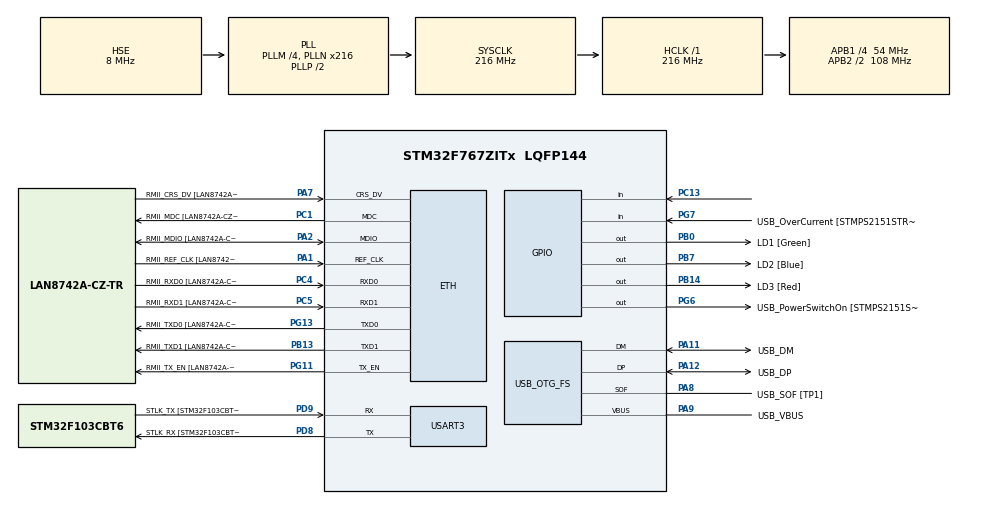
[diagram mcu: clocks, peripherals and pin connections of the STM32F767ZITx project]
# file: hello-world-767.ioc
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CORTEX_M7.default_mode_Activation=1
ETH.MediaInterface=HAL_ETH_RMII_MODE
ETH.PHY_Name=LAN8742A_PHY_ADDRESS
ETH.PHY_Value=0
ETH.PhyAddress=0
Mcu.Family=STM32F7
Mcu.Name=STM32F767ZITx
Mcu.Package=LQFP144
NVIC.PriorityGroup=NVIC_PRIORITYGROUP_4
PA1.GPIO_Label=RMII_REF_CLK [LAN8742A-CZ-TR_REFCLK0]
PA1.Mode=RMII
PA1.Signal=ETH_REF_CLK
PA10.GPIO_Label=USB_ID
PA10.Signal=USB_OTG_FS_ID
PA11.GPIO_Label=USB_DM
PA11.Mode=Device_Only
PA11.Signal=USB_OTG_FS_DM
PA12.GPIO_Label=USB_DP
PA12.Mode=Device_Only
PA12.Signal=USB_OTG_FS_DP
PA13.GPIO_Label=TMS
PA13.Mode=Serial_Wire
PA13.Signal=SYS_JTMS-SWDIO
PA14.GPIO_Label=TCK
PA14.Mode=Serial_Wire
PA14.Signal=SYS_JTCK-SWCLK
PA2.GPIO_Label=RMII_MDIO [LAN8742A-CZ-TR_MDIO]
PA2.Mode=RMII
PA2.Signal=ETH_MDIO
PA7.GPIO_Label=RMII_CRS_DV [LAN8742A-CZ-TR_CRS_DV]
PA7.Mode=RMII
PA7.Signal=ETH_CRS_DV
PA8.GPIO_Label=USB_SOF [TP1]
PA8.Mode=Activate_SOF_FS
PA8.Signal=USB_OTG_FS_SOF
PA9.GPIO_Label=USB_VBUS
PA9.Mode=Activate_VBUS
PA9.Signal=USB_OTG_FS_VBUS
PB0.GPIO_Label=LD1 [Green]
PB0.Signal=GPIO_Output
PB13.GPIO_Label=RMII_TXD1 [LAN8742A-CZ-TR_TXD1]
PB13.Mode=RMII
PB13.Signal=ETH_TXD1
PB14.GPIO_Label=LD3 [Red]
PB14.Signal=GPIO_Output
PB3.GPIO_Label=SWO
PB3.Signal=SYS_JTDO-SWO
PB7.GPIO_Label=LD2 [Blue]
PB7.Signal=GPIO_Output
PC1.GPIO_Label=RMII_MDC [LAN8742A-CZ-TR_MDC]
PC1.Mode=RMII
PC1.Signal=ETH_MDC
PC13.Signal=GPIO_Input
PC14/OSC32_IN.Mode=LSE-External-Oscillator
PC14/OSC32_IN.Signal=RCC_OSC32_IN
PC15/OSC32_OUT.Mode=LSE-External-Oscillator
PC15/OSC32_OUT.Signal=RCC_OSC32_OUT
PC4.GPIO_Label=RMII_RXD0 [LAN8742A-CZ-TR_RXD0]
PC4.Mode=RMII
PC4.Signal=ETH_RXD0
PC5.GPIO_Label=RMII_RXD1 [LAN8742A-CZ-TR_RXD1]
PC5.Mode=RMII
PC5.Signal=ETH_RXD1
PD8.GPIO_Label=STLK_RX [STM32F103CBT6_PA3]
PD8.Mode=Asynchronous
PD8.Signal=USART3_TX
PD9.GPIO_Label=STLK_TX [STM32F103CBT6_PA2]
PD9.Mode=Asynchronous
PD9.Signal=USART3_RX
PG11.GPIO_Label=RMII_TX_EN [LAN8742A-CZ-TR_TXEN]
PG11.Mode=RMII
PG11.Signal=ETH_TX_EN
PG13.GPIO_Label=RMII_TXD0 [LAN8742A-CZ-TR_TXD0]
PG13.Mode=RMII
PG13.Signal=ETH_TXD0
PG6.GPIO_Label=USB_PowerSwitchOn [STMPS2151STR_EN]
PG6.Signal=GPIO_Output
PG7.GPIO_Label=USB_OverCurrent [STMPS2151STR_FAULT]
PG7.Signal=GPIO_Input
PH0/OSC_IN.GPIO_Label=MCO [STM32F103CBT6_PA8]
PH0/OSC_IN.Mode=HSE-External-Clock-Source
PH0/OSC_IN.Signal=RCC_OSC_IN
PH1/OSC_OUT.Mode=HSE-External-Clock-Source
PH1/OSC_OUT.Signal=RCC_OSC_OUT
ProjectManager.HeapSize=0x200
ProjectManager.StackSize=0x400
ProjectManager.TargetToolchain=STM32CubeIDE
RCC.48MHZClocksFreq_Value=24000000
RCC.AHBFreq_Value=216000000
RCC.APB1CLKDivider=RCC_HCLK_DIV4
RCC.APB1Freq_Value=54000000
RCC.APB1TimFreq_Value=108000000
RCC.APB2CLKDivider=RCC_HCLK_DIV2
RCC.APB2Freq_Value=108000000
RCC.APB2TimFreq_Value=216000000
RCC.CortexFreq_Value=216000000
RCC.HCLKFreq_Value=216000000
RCC.HSE_VALUE=8000000
RCC.HSI_VALUE=16000000
RCC.PLLM=4
RCC.PLLMUL=RCC_PLL_MUL9
RCC.PLLN=216
RCC.PLLQ=9
RCC.PRESCALERUSB=RCC_USBCLKSOURCE_PLL_DIV1_5
RCC.SYSCLKFreq_VALUE=216000000
RCC.SYSCLKSource=RCC_SYSCLKSOURCE_PLLCLK
RCC.SYSCLKSourceVirtual=RCC_SYSCLKSOURCE_PLLCLK
RCC.USBFreq_Value=48000000
RCC.VCOOutputFreq_Value=432000000
USART3.VirtualMode-Asynchronous=VM_ASYNC
USB_OTG_FS.VirtualMode=Device_Only
board=NUCLEO-F767ZI

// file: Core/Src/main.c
/* USER CODE BEGIN Header */
/**
  ******************************************************************************
  * @file           : main.c
  * @brief          : Main program body
  ******************************************************************************
  * @attention
  *
  * Copyright (c) 2026 STMicroelectronics.
  * All rights reserved.
  *
  * This software is licensed under terms that can be found in the LICENSE file
  * in the root directory of this software component.
  * If no LICENSE file comes with this software, it is provided AS-IS.
  *
  ******************************************************************************
  */
/* USER CODE END Header */
#include "main.h"
#include "string.h"

/* USER CODE BEGIN Includes */
#include <stdio.h>
/* USER CODE END Includes */

#if defined ( __ICCARM__ ) /*!< IAR Compiler */
#pragma location=0x2007c000
ETH_DMADescTypeDef  DMARxDscrTab[ETH_RX_DESC_CNT]; /* Ethernet Rx DMA Descriptors */
#pragma location=0x2007c0a0
ETH_DMADescTypeDef  DMATxDscrTab[ETH_TX_DESC_CNT]; /* Ethernet Tx DMA Descriptors */

#elif defined ( __CC_ARM )  /* MDK ARM Compiler */

__attribute__((at(0x2007c000))) ETH_DMADescTypeDef  DMARxDscrTab[ETH_RX_DESC_CNT]; /* Ethernet Rx DMA Descriptors */
__attribute__((at(0x2007c0a0))) ETH_DMADescTypeDef  DMATxDscrTab[ETH_TX_DESC_CNT]; /* Ethernet Tx DMA Descriptors */

#elif defined ( __GNUC__ ) /* GNU Compiler */

ETH_DMADescTypeDef DMARxDscrTab[ETH_RX_DESC_CNT] __attribute__((section(".RxDecripSection"))); /* Ethernet Rx DMA Descriptors */
ETH_DMADescTypeDef DMATxDscrTab[ETH_TX_DESC_CNT] __attribute__((section(".TxDecripSection")));   /* Ethernet Tx DMA Descriptors */
#endif

ETH_TxPacketConfig TxConfig;

ETH_HandleTypeDef heth;

UART_HandleTypeDef huart3;

PCD_HandleTypeDef hpcd_USB_OTG_FS;

/* USER CODE BEGIN PV */
/* Otimização: sizeof() calcula o tamanho na compilação (-1 para ignorar o '\0') */
static const char msg[] = "Status: OK\r\n";
uint8_t estado = 0;
/* USER CODE END PV */

void SystemClock_Config(void);
static void MPU_Config(void);
static void MX_GPIO_Init(void);
static void MX_ETH_Init(void);
static void MX_USART3_UART_Init(void);
static void MX_USB_OTG_FS_PCD_Init(void);

int main(void)
{

  /* MPU Configuration--------------------------------------------------------*/
  MPU_Config();

  /* MCU Configuration--------------------------------------------------------*/

  /* Reset of all peripherals, Initializes the Flash interface and the Systick. */
  HAL_Init();

  /* Configure the system clock */
  SystemClock_Config();

  /* Initialize all configured peripherals */
  MX_GPIO_Init();
  MX_ETH_Init();
  MX_USART3_UART_Init();
  MX_USB_OTG_FS_PCD_Init();

  /* Infinite loop */
  /* USER CODE BEGIN WHILE */
  while (1)
  {
	  char buffer[32];

	  /* Nota: no HAL do STM32, o nome correto da macro é GPIO_PIN_13 (tudo em maiúsculo) */
	  estado = HAL_GPIO_ReadPin(GPIOC, GPIO_PIN_13);

	  /* Formata a string com a variável %d e salva em 'buffer' */
	  int len = sprintf(buffer, "estado: %d\r\n", estado);

	  /* Transmite exatamente a quantidade de caracteres formatada */
	  HAL_UART_Transmit(&huart3, (uint8_t*)buffer, len, 10);

	  while (estado) {
		  estado = HAL_GPIO_ReadPin(GPIOC, GPIO_PIN_13);
		  HAL_GPIO_WritePin(GPIOB, LD1_Pin, GPIO_PIN_SET);
		  HAL_GPIO_WritePin(GPIOB, LD2_Pin, GPIO_PIN_SET);
		  HAL_GPIO_WritePin(GPIOB, LD3_Pin, GPIO_PIN_SET);
	  }

	  HAL_GPIO_WritePin(GPIOB, LD1_Pin, GPIO_PIN_RESET);
	  HAL_GPIO_WritePin(GPIOB, LD2_Pin, GPIO_PIN_RESET);
	  HAL_GPIO_WritePin(GPIOB, LD3_Pin, GPIO_PIN_RESET);
	  HAL_Delay(200);
    /* USER CODE END WHILE */

  }
}

void SystemClock_Config(void)
{
  RCC_OscInitTypeDef RCC_OscInitStruct = {0};
  RCC_ClkInitTypeDef RCC_ClkInitStruct = {0};

  /** Configure LSE Drive Capability
  */
  HAL_PWR_EnableBkUpAccess();

  /** Configure the main internal regulator output voltage
  */
  __HAL_RCC_PWR_CLK_ENABLE();
  __HAL_PWR_VOLTAGESCALING_CONFIG(PWR_REGULATOR_VOLTAGE_SCALE1);

  /** Initializes the RCC Oscillators according to the specified parameters
  * in the RCC_OscInitTypeDef structure.
  */
  RCC_OscInitStruct.OscillatorType = RCC_OSCILLATORTYPE_HSE;
  RCC_OscInitStruct.HSEState = RCC_HSE_BYPASS;
  RCC_OscInitStruct.PLL.PLLState = RCC_PLL_ON;
  RCC_OscInitStruct.PLL.PLLSource = RCC_PLLSOURCE_HSE;
  RCC_OscInitStruct.PLL.PLLM = 4;
  RCC_OscInitStruct.PLL.PLLN = 216;
  RCC_OscInitStruct.PLL.PLLP = RCC_PLLP_DIV2;
  RCC_OscInitStruct.PLL.PLLQ = 9;
  RCC_OscInitStruct.PLL.PLLR = 2;
  if (HAL_RCC_OscConfig(&RCC_OscInitStruct) != HAL_OK)
  {
    Error_Handler();
  }

  /** Activate the Over-Drive mode
  */
  if (HAL_PWREx_EnableOverDrive() != HAL_OK)
  {
    Error_Handler();
  }

  /** Initializes the CPU, AHB and APB buses clocks
  */
  RCC_ClkInitStruct.ClockType = RCC_CLOCKTYPE_HCLK|RCC_CLOCKTYPE_SYSCLK
                              |RCC_CLOCKTYPE_PCLK1|RCC_CLOCKTYPE_PCLK2;
  RCC_ClkInitStruct.SYSCLKSource = RCC_SYSCLKSOURCE_PLLCLK;
  RCC_ClkInitStruct.AHBCLKDivider = RCC_SYSCLK_DIV1;
  RCC_ClkInitStruct.APB1CLKDivider = RCC_HCLK_DIV4;
  RCC_ClkInitStruct.APB2CLKDivider = RCC_HCLK_DIV2;

  if (HAL_RCC_ClockConfig(&RCC_ClkInitStruct, FLASH_LATENCY_7) != HAL_OK)
  {
    Error_Handler();
  }
}

static void MX_ETH_Init(void)
{

   static uint8_t MACAddr[6];

  heth.Instance = ETH;
  MACAddr[0] = 0x00;
  MACAddr[1] = 0x80;
  MACAddr[2] = 0xE1;
  MACAddr[3] = 0x00;
  MACAddr[4] = 0x00;
  MACAddr[5] = 0x00;
  heth.Init.MACAddr = &MACAddr[0];
  heth.Init.MediaInterface = HAL_ETH_RMII_MODE;
  heth.Init.TxDesc = DMATxDscrTab;
  heth.Init.RxDesc = DMARxDscrTab;
  heth.Init.RxBuffLen = 1524;

  if (HAL_ETH_Init(&heth) != HAL_OK)
  {
    Error_Handler();
  }

  memset(&TxConfig, 0 , sizeof(ETH_TxPacketConfig));
  TxConfig.Attributes = ETH_TX_PACKETS_FEATURES_CSUM | ETH_TX_PACKETS_FEATURES_CRCPAD;
  TxConfig.ChecksumCtrl = ETH_CHECKSUM_IPHDR_PAYLOAD_INSERT_PHDR_CALC;
  TxConfig.CRCPadCtrl = ETH_CRC_PAD_INSERT;

}

static void MX_USART3_UART_Init(void)
{

  huart3.Instance = USART3;
  huart3.Init.BaudRate = 115200;
  huart3.Init.WordLength = UART_WORDLENGTH_8B;
  huart3.Init.StopBits = UART_STOPBITS_1;
  huart3.Init.Parity = UART_PARITY_NONE;
  huart3.Init.Mode = UART_MODE_TX_RX;
  huart3.Init.HwFlowCtl = UART_HWCONTROL_NONE;
  huart3.Init.OverSampling = UART_OVERSAMPLING_16;
  huart3.Init.OneBitSampling = UART_ONE_BIT_SAMPLE_DISABLE;
  huart3.AdvancedInit.AdvFeatureInit = UART_ADVFEATURE_NO_INIT;
  if (HAL_UART_Init(&huart3) != HAL_OK)
  {
    Error_Handler();
  }

}

static void MX_USB_OTG_FS_PCD_Init(void)
{

  hpcd_USB_OTG_FS.Instance = USB_OTG_FS;
  hpcd_USB_OTG_FS.Init.dev_endpoints = 6;
  hpcd_USB_OTG_FS.Init.speed = PCD_SPEED_FULL;
  hpcd_USB_OTG_FS.Init.dma_enable = DISABLE;
  hpcd_USB_OTG_FS.Init.phy_itface = PCD_PHY_EMBEDDED;
  hpcd_USB_OTG_FS.Init.Sof_enable = ENABLE;
  hpcd_USB_OTG_FS.Init.low_power_enable = DISABLE;
  hpcd_USB_OTG_FS.Init.lpm_enable = DISABLE;
  hpcd_USB_OTG_FS.Init.vbus_sensing_enable = ENABLE;
  hpcd_USB_OTG_FS.Init.use_dedicated_ep1 = DISABLE;
  if (HAL_PCD_Init(&hpcd_USB_OTG_FS) != HAL_OK)
  {
    Error_Handler();
  }

}

static void MX_GPIO_Init(void)
{
  GPIO_InitTypeDef GPIO_InitStruct = {0};

  /* GPIO Ports Clock Enable */
  __HAL_RCC_GPIOC_CLK_ENABLE();
  __HAL_RCC_GPIOH_CLK_ENABLE();
  __HAL_RCC_GPIOA_CLK_ENABLE();
  __HAL_RCC_GPIOB_CLK_ENABLE();
  __HAL_RCC_GPIOD_CLK_ENABLE();
  __HAL_RCC_GPIOG_CLK_ENABLE();

  /*Configure GPIO pin Output Level */
  HAL_GPIO_WritePin(GPIOB, LD1_Pin|LD3_Pin|LD2_Pin, GPIO_PIN_RESET);

  /*Configure GPIO pin Output Level */
  HAL_GPIO_WritePin(USB_PowerSwitchOn_GPIO_Port, USB_PowerSwitchOn_Pin, GPIO_PIN_RESET);

  /*Configure GPIO pin : PC13 */
  GPIO_InitStruct.Pin = GPIO_PIN_13;
  GPIO_InitStruct.Mode = GPIO_MODE_INPUT;
  GPIO_InitStruct.Pull = GPIO_NOPULL;
  HAL_GPIO_Init(GPIOC, &GPIO_InitStruct);

  /*Configure GPIO pins : LD1_Pin LD3_Pin LD2_Pin */
  GPIO_InitStruct.Pin = LD1_Pin|LD3_Pin|LD2_Pin;
  GPIO_InitStruct.Mode = GPIO_MODE_OUTPUT_PP;
  GPIO_InitStruct.Pull = GPIO_NOPULL;
  GPIO_InitStruct.Speed = GPIO_SPEED_FREQ_LOW;
  HAL_GPIO_Init(GPIOB, &GPIO_InitStruct);

  /*Configure GPIO pin : USB_PowerSwitchOn_Pin */
  GPIO_InitStruct.Pin = USB_PowerSwitchOn_Pin;
  GPIO_InitStruct.Mode = GPIO_MODE_OUTPUT_PP;
  GPIO_InitStruct.Pull = GPIO_NOPULL;
  GPIO_InitStruct.Speed = GPIO_SPEED_FREQ_LOW;
  HAL_GPIO_Init(USB_PowerSwitchOn_GPIO_Port, &GPIO_InitStruct);

  /*Configure GPIO pin : USB_OverCurrent_Pin */
  GPIO_InitStruct.Pin = USB_OverCurrent_Pin;
  GPIO_InitStruct.Mode = GPIO_MODE_INPUT;
  GPIO_InitStruct.Pull = GPIO_NOPULL;
  HAL_GPIO_Init(USB_OverCurrent_GPIO_Port, &GPIO_InitStruct);

}

 /* MPU Configuration */

void MPU_Config(void)
{
  MPU_Region_InitTypeDef MPU_InitStruct = {0};

  /* Disables the MPU */
  HAL_MPU_Disable();

  /** Initializes and configures the Region and the memory to be protected
  */
  MPU_InitStruct.Enable = MPU_REGION_ENABLE;
  MPU_InitStruct.Number = MPU_REGION_NUMBER0;
  MPU_InitStruct.BaseAddress = 0x0;
  MPU_InitStruct.Size = MPU_REGION_SIZE_4GB;
  MPU_InitStruct.SubRegionDisable = 0x87;
  MPU_InitStruct.TypeExtField = MPU_TEX_LEVEL0;
  MPU_InitStruct.AccessPermission = MPU_REGION_NO_ACCESS;
  MPU_InitStruct.DisableExec = MPU_INSTRUCTION_ACCESS_DISABLE;
  MPU_InitStruct.IsShareable = MPU_ACCESS_SHAREABLE;
  MPU_InitStruct.IsCacheable = MPU_ACCESS_NOT_CACHEABLE;
  MPU_InitStruct.IsBufferable = MPU_ACCESS_NOT_BUFFERABLE;

  HAL_MPU_ConfigRegion(&MPU_InitStruct);
  /* Enables the MPU */
  HAL_MPU_Enable(MPU_PRIVILEGED_DEFAULT);

}

void Error_Handler(void)
{
  __disable_irq();
  while (1)
  {
  }
}
